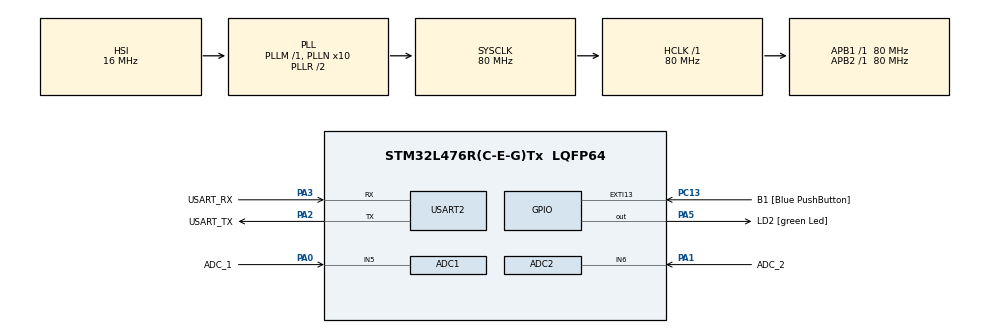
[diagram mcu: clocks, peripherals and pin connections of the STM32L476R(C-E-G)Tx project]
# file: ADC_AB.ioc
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ADC1.Channel-1\#ChannelRegularConversion=ADC_CHANNEL_5
ADC1.ClockPrescaler=ADC_CLOCK_ASYNC_DIV64
ADC1.ContinuousConvMode=ENABLE
ADC1.NbrOfConversionFlag=1
ADC1.OffsetNumber-1\#ChannelRegularConversion=ADC_OFFSET_NONE
ADC1.Rank-1\#ChannelRegularConversion=1
ADC1.SamplingTime-1\#ChannelRegularConversion=ADC_SAMPLETIME_2CYCLES_5
ADC1.master=1
ADC2.Channel-1\#ChannelRegularConversion=ADC_CHANNEL_6
ADC2.ClockPrescaler=ADC_CLOCK_ASYNC_DIV64
ADC2.ContinuousConvMode=ENABLE
ADC2.NbrOfConversionFlag=1
ADC2.OffsetNumber-1\#ChannelRegularConversion=ADC_OFFSET_NONE
ADC2.Rank-1\#ChannelRegularConversion=1
ADC2.Resolution=ADC_RESOLUTION_8B
ADC2.SamplingTime-1\#ChannelRegularConversion=ADC_SAMPLETIME_2CYCLES_5
Mcu.Family=STM32L4
Mcu.Name=STM32L476R(C-E-G)Tx
Mcu.Package=LQFP64
NVIC.ADC1_2_IRQn=true\:0\:0\:false\:false\:true\:true\:true\:true
NVIC.EXTI15_10_IRQn=true\:0\:0\:false\:false\:true\:true\:true\:true
NVIC.PriorityGroup=NVIC_PRIORITYGROUP_4
NVIC.TIM6_DAC_IRQn=true\:0\:0\:false\:false\:true\:true\:true\:true
PA0.GPIO_Label=ADC_1
PA0.Signal=ADCx_IN5
PA1.GPIO_Label=ADC_2
PA1.Signal=ADCx_IN6
PA13\ (JTMS-SWDIO).GPIO_Label=TMS
PA13\ (JTMS-SWDIO).Mode=Serial_Wire
PA13\ (JTMS-SWDIO).Signal=SYS_JTMS-SWDIO
PA14\ (JTCK-SWCLK).GPIO_Label=TCK
PA14\ (JTCK-SWCLK).Mode=Serial_Wire
PA14\ (JTCK-SWCLK).Signal=SYS_JTCK-SWCLK
PA2.GPIO_Label=USART_TX
PA2.GPIO_Mode=GPIO_MODE_AF_PP
PA2.GPIO_PuPd=GPIO_NOPULL
PA2.GPIO_Speed=GPIO_SPEED_FREQ_VERY_HIGH
PA2.Mode=Asynchronous
PA2.Signal=USART2_TX
PA3.GPIO_Label=USART_RX
PA3.GPIO_Mode=GPIO_MODE_AF_PP
PA3.GPIO_PuPd=GPIO_NOPULL
PA3.GPIO_Speed=GPIO_SPEED_FREQ_VERY_HIGH
PA3.Mode=Asynchronous
PA3.Signal=USART2_RX
PA5.GPIO_Label=LD2 [green Led]
PA5.GPIO_ModeDefaultOutputPP=GPIO_MODE_OUTPUT_PP
PA5.GPIO_PuPd=GPIO_NOPULL
PA5.GPIO_Speed=GPIO_SPEED_FREQ_LOW
PA5.Signal=GPIO_Output
PB3\ (JTDO-TRACESWO).GPIO_Label=SWO
PB3\ (JTDO-TRACESWO).Signal=SYS_JTDO-SWO
PC13.GPIO_Label=B1 [Blue PushButton]
PC13.GPIO_ModeDefaultEXTI=GPIO_MODE_IT_FALLING
PC13.GPIO_PuPd=GPIO_NOPULL
PC13.Signal=GPXTI13
PC14-OSC32_IN\ (PC14).Mode=LSE-External-Oscillator
PC14-OSC32_IN\ (PC14).Signal=RCC_OSC32_IN
PC15-OSC32_OUT\ (PC15).Mode=LSE-External-Oscillator
PC15-OSC32_OUT\ (PC15).Signal=RCC_OSC32_OUT
PH0-OSC_IN\ (PH0).Signal=RCC_OSC_IN
PH1-OSC_OUT\ (PH1).Signal=RCC_OSC_OUT
ProjectManager.HeapSize=0x200
ProjectManager.StackSize=0x400
ProjectManager.TargetToolchain=STM32CubeIDE
RCC.ADCFreq_Value=64000000
RCC.AHBFreq_Value=80000000
RCC.APB1Freq_Value=80000000
RCC.APB1TimFreq_Value=80000000
RCC.APB2Freq_Value=80000000
RCC.APB2TimFreq_Value=80000000
RCC.CortexFreq_Value=80000000
RCC.HCLKFreq_Value=80000000
RCC.HSE_VALUE=8000000
RCC.HSI_VALUE=16000000
RCC.MSI_VALUE=4000000
RCC.PLLN=10
RCC.PLLSourceVirtual=RCC_PLLSOURCE_HSI
RCC.PREFETCH_ENABLE=1
RCC.SYSCLKFreq_VALUE=80000000
RCC.SYSCLKSource=RCC_SYSCLKSOURCE_PLLCLK
RCC.USBFreq_Value=64000000
RCC.VCOOutputFreq_Value=160000000
SH.ADCx_IN5.0=ADC1_IN5,IN5-Single-Ended
SH.ADCx_IN6.0=ADC2_IN6,IN6-Single-Ended
TIM6.Period=9999
TIM6.Prescaler=7999
USART2.VirtualMode-Asynchronous=VM_ASYNC
VP_TIM6_VS_ClockSourceINT.Mode=Enable_Timer
board=NUCLEO-L476RG

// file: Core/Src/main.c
/* USER CODE BEGIN Header */
/**
  ******************************************************************************
  * @file           : main.c
  * @brief          : Main program body
  ******************************************************************************
  * @attention
  *
  * Copyright (c) 2022 STMicroelectronics.
  * All rights reserved.
  *
  * This software is licensed under terms that can be found in the LICENSE file
  * in the root directory of this software component.
  * If no LICENSE file comes with this software, it is provided AS-IS.
  *
  ******************************************************************************
  */
/* USER CODE END Header */
#include "main.h"

/* USER CODE BEGIN Includes */
#include <stdio.h>
/* USER CODE END Includes */

 ADC_HandleTypeDef hadc1;
ADC_HandleTypeDef hadc2;

TIM_HandleTypeDef htim6;

UART_HandleTypeDef huart2;

void SystemClock_Config(void);
void PeriphCommonClock_Config(void);
static void MX_GPIO_Init(void);
static void MX_USART2_UART_Init(void);
static void MX_ADC1_Init(void);
static void MX_ADC2_Init(void);
static void MX_TIM6_Init(void);

/* USER CODE BEGIN 0 */
static uint32_t valueLightSensor 	= 0;
static uint32_t valuePotentiometer 	= 0;

void HAL_TIM_PeriodElapsedCallback(TIM_HandleTypeDef *htim)
{
	printf("%d \n\r",valueLightSensor);
	printf("%d \n\r",valuePotentiometer);

}
// Define callback function
void HAL_ADC_ConvCpltCallback(ADC_HandleTypeDef* hadc)
{
	// Read the converted value in the callback function
	valuePotentiometer = HAL_ADC_GetValue(&hadc2);
	//printf("%d \n\r",value);

}

int __io_putchar(int ch)
{
  /* Place your implementation of fputc here */
  /* e.g. write a character to the USART1 and Loop until the end of transmission */
  HAL_UART_Transmit(&huart2, (uint8_t *)&ch, 1, 0xFFFF);

  return ch;
}

/* USER CODE END 0 */

int main(void)
{

  /* MCU Configuration--------------------------------------------------------*/

  /* Reset of all peripherals, Initializes the Flash interface and the Systick. */
  HAL_Init();

  /* Configure the system clock */
  SystemClock_Config();

/* Configure the peripherals common clocks */
  PeriphCommonClock_Config();

  /* Initialize all configured peripherals */
  MX_GPIO_Init();
  MX_USART2_UART_Init();
  MX_ADC1_Init();
  MX_ADC2_Init();
  MX_TIM6_Init();
  /* USER CODE BEGIN 2 */
  HAL_NVIC_EnableIRQ(ADC1_2_IRQn);
  HAL_NVIC_EnableIRQ(ADC1_2_IRQn);
  HAL_NVIC_EnableIRQ(TIM6_DAC_IRQn);

  HAL_ADC_Start(&hadc1);
  HAL_ADC_Start_IT(&hadc2);
  HAL_TIM_Base_Start_IT(&htim6);

  /* USER CODE END 2 */

  /* Infinite loop */
  while (1)
  {

    /* USER CODE BEGIN 3 */

	// Wait for conversion to end
	HAL_StatusTypeDef result = HAL_ADC_PollForConversion(&hadc1, 1000);
	// Read the converted value
	if(result == HAL_OK)
	{
		valueLightSensor =  HAL_ADC_GetValue(&hadc1);

		//printf("%d \n\r",(int)value);

		HAL_ADC_Stop(&hadc1);
		HAL_ADC_Start(&hadc1);
	}

  }
  /* USER CODE END 3 */
}

void SystemClock_Config(void)
{
  RCC_OscInitTypeDef RCC_OscInitStruct = {0};
  RCC_ClkInitTypeDef RCC_ClkInitStruct = {0};

  /** Configure the main internal regulator output voltage
  */
  if (HAL_PWREx_ControlVoltageScaling(PWR_REGULATOR_VOLTAGE_SCALE1) != HAL_OK)
  {
    Error_Handler();
  }

  /** Initializes the RCC Oscillators according to the specified parameters
  * in the RCC_OscInitTypeDef structure.
  */
  RCC_OscInitStruct.OscillatorType = RCC_OSCILLATORTYPE_HSI;
  RCC_OscInitStruct.HSIState = RCC_HSI_ON;
  RCC_OscInitStruct.HSICalibrationValue = RCC_HSICALIBRATION_DEFAULT;
  RCC_OscInitStruct.PLL.PLLState = RCC_PLL_ON;
  RCC_OscInitStruct.PLL.PLLSource = RCC_PLLSOURCE_HSI;
  RCC_OscInitStruct.PLL.PLLM = 1;
  RCC_OscInitStruct.PLL.PLLN = 10;
  RCC_OscInitStruct.PLL.PLLP = RCC_PLLP_DIV7;
  RCC_OscInitStruct.PLL.PLLQ = RCC_PLLQ_DIV2;
  RCC_OscInitStruct.PLL.PLLR = RCC_PLLR_DIV2;
  if (HAL_RCC_OscConfig(&RCC_OscInitStruct) != HAL_OK)
  {
    Error_Handler();
  }

  /** Initializes the CPU, AHB and APB buses clocks
  */
  RCC_ClkInitStruct.ClockType = RCC_CLOCKTYPE_HCLK|RCC_CLOCKTYPE_SYSCLK
                              |RCC_CLOCKTYPE_PCLK1|RCC_CLOCKTYPE_PCLK2;
  RCC_ClkInitStruct.SYSCLKSource = RCC_SYSCLKSOURCE_PLLCLK;
  RCC_ClkInitStruct.AHBCLKDivider = RCC_SYSCLK_DIV1;
  RCC_ClkInitStruct.APB1CLKDivider = RCC_HCLK_DIV1;
  RCC_ClkInitStruct.APB2CLKDivider = RCC_HCLK_DIV1;

  if (HAL_RCC_ClockConfig(&RCC_ClkInitStruct, FLASH_LATENCY_4) != HAL_OK)
  {
    Error_Handler();
  }
}

void PeriphCommonClock_Config(void)
{
  RCC_PeriphCLKInitTypeDef PeriphClkInit = {0};

  /** Initializes the peripherals clock
  */
  PeriphClkInit.PeriphClockSelection = RCC_PERIPHCLK_ADC;
  PeriphClkInit.AdcClockSelection = RCC_ADCCLKSOURCE_PLLSAI1;
  PeriphClkInit.PLLSAI1.PLLSAI1Source = RCC_PLLSOURCE_HSI;
  PeriphClkInit.PLLSAI1.PLLSAI1M = 1;
  PeriphClkInit.PLLSAI1.PLLSAI1N = 8;
  PeriphClkInit.PLLSAI1.PLLSAI1P = RCC_PLLP_DIV7;
  PeriphClkInit.PLLSAI1.PLLSAI1Q = RCC_PLLQ_DIV2;
  PeriphClkInit.PLLSAI1.PLLSAI1R = RCC_PLLR_DIV2;
  PeriphClkInit.PLLSAI1.PLLSAI1ClockOut = RCC_PLLSAI1_ADC1CLK;
  if (HAL_RCCEx_PeriphCLKConfig(&PeriphClkInit) != HAL_OK)
  {
    Error_Handler();
  }
}

static void MX_ADC1_Init(void)
{

  ADC_MultiModeTypeDef multimode = {0};
  ADC_ChannelConfTypeDef sConfig = {0};

  /** Common config
  */
  hadc1.Instance = ADC1;
  hadc1.Init.ClockPrescaler = ADC_CLOCK_ASYNC_DIV64;
  hadc1.Init.Resolution = ADC_RESOLUTION_12B;
  hadc1.Init.DataAlign = ADC_DATAALIGN_RIGHT;
  hadc1.Init.ScanConvMode = ADC_SCAN_DISABLE;
  hadc1.Init.EOCSelection = ADC_EOC_SINGLE_CONV;
  hadc1.Init.LowPowerAutoWait = DISABLE;
  hadc1.Init.ContinuousConvMode = ENABLE;
  hadc1.Init.NbrOfConversion = 1;
  hadc1.Init.DiscontinuousConvMode = DISABLE;
  hadc1.Init.ExternalTrigConv = ADC_SOFTWARE_START;
  hadc1.Init.ExternalTrigConvEdge = ADC_EXTERNALTRIGCONVEDGE_NONE;
  hadc1.Init.DMAContinuousRequests = DISABLE;
  hadc1.Init.Overrun = ADC_OVR_DATA_PRESERVED;
  hadc1.Init.OversamplingMode = DISABLE;
  if (HAL_ADC_Init(&hadc1) != HAL_OK)
  {
    Error_Handler();
  }

  /** Configure the ADC multi-mode
  */
  multimode.Mode = ADC_MODE_INDEPENDENT;
  if (HAL_ADCEx_MultiModeConfigChannel(&hadc1, &multimode) != HAL_OK)
  {
    Error_Handler();
  }

  /** Configure Regular Channel
  */
  sConfig.Channel = ADC_CHANNEL_5;
  sConfig.Rank = ADC_REGULAR_RANK_1;
  sConfig.SamplingTime = ADC_SAMPLETIME_2CYCLES_5;
  sConfig.SingleDiff = ADC_SINGLE_ENDED;
  sConfig.OffsetNumber = ADC_OFFSET_NONE;
  sConfig.Offset = 0;
  if (HAL_ADC_ConfigChannel(&hadc1, &sConfig) != HAL_OK)
  {
    Error_Handler();
  }

}

static void MX_ADC2_Init(void)
{

  ADC_ChannelConfTypeDef sConfig = {0};

  /** Common config
  */
  hadc2.Instance = ADC2;
  hadc2.Init.ClockPrescaler = ADC_CLOCK_ASYNC_DIV64;
  hadc2.Init.Resolution = ADC_RESOLUTION_8B;
  hadc2.Init.DataAlign = ADC_DATAALIGN_RIGHT;
  hadc2.Init.ScanConvMode = ADC_SCAN_DISABLE;
  hadc2.Init.EOCSelection = ADC_EOC_SINGLE_CONV;
  hadc2.Init.LowPowerAutoWait = DISABLE;
  hadc2.Init.ContinuousConvMode = ENABLE;
  hadc2.Init.NbrOfConversion = 1;
  hadc2.Init.DiscontinuousConvMode = DISABLE;
  hadc2.Init.ExternalTrigConv = ADC_SOFTWARE_START;
  hadc2.Init.ExternalTrigConvEdge = ADC_EXTERNALTRIGCONVEDGE_NONE;
  hadc2.Init.DMAContinuousRequests = DISABLE;
  hadc2.Init.Overrun = ADC_OVR_DATA_PRESERVED;
  hadc2.Init.OversamplingMode = DISABLE;
  if (HAL_ADC_Init(&hadc2) != HAL_OK)
  {
    Error_Handler();
  }

  /** Configure Regular Channel
  */
  sConfig.Channel = ADC_CHANNEL_6;
  sConfig.Rank = ADC_REGULAR_RANK_1;
  sConfig.SamplingTime = ADC_SAMPLETIME_2CYCLES_5;
  sConfig.SingleDiff = ADC_SINGLE_ENDED;
  sConfig.OffsetNumber = ADC_OFFSET_NONE;
  sConfig.Offset = 0;
  if (HAL_ADC_ConfigChannel(&hadc2, &sConfig) != HAL_OK)
  {
    Error_Handler();
  }

}

static void MX_TIM6_Init(void)
{

  TIM_MasterConfigTypeDef sMasterConfig = {0};

  htim6.Instance = TIM6;
  htim6.Init.Prescaler = 7999;
  htim6.Init.CounterMode = TIM_COUNTERMODE_UP;
  htim6.Init.Period = 9999;
  htim6.Init.AutoReloadPreload = TIM_AUTORELOAD_PRELOAD_DISABLE;
  if (HAL_TIM_Base_Init(&htim6) != HAL_OK)
  {
    Error_Handler();
  }
  sMasterConfig.MasterOutputTrigger = TIM_TRGO_RESET;
  sMasterConfig.MasterSlaveMode = TIM_MASTERSLAVEMODE_DISABLE;
  if (HAL_TIMEx_MasterConfigSynchronization(&htim6, &sMasterConfig) != HAL_OK)
  {
    Error_Handler();
  }

}

static void MX_USART2_UART_Init(void)
{

  huart2.Instance = USART2;
  huart2.Init.BaudRate = 115200;
  huart2.Init.WordLength = UART_WORDLENGTH_8B;
  huart2.Init.StopBits = UART_STOPBITS_1;
  huart2.Init.Parity = UART_PARITY_NONE;
  huart2.Init.Mode = UART_MODE_TX_RX;
  huart2.Init.HwFlowCtl = UART_HWCONTROL_NONE;
  huart2.Init.OverSampling = UART_OVERSAMPLING_16;
  huart2.Init.OneBitSampling = UART_ONE_BIT_SAMPLE_DISABLE;
  huart2.AdvancedInit.AdvFeatureInit = UART_ADVFEATURE_NO_INIT;
  if (HAL_UART_Init(&huart2) != HAL_OK)
  {
    Error_Handler();
  }

}

static void MX_GPIO_Init(void)
{
  GPIO_InitTypeDef GPIO_InitStruct = {0};

  /* GPIO Ports Clock Enable */
  __HAL_RCC_GPIOC_CLK_ENABLE();
  __HAL_RCC_GPIOH_CLK_ENABLE();
  __HAL_RCC_GPIOA_CLK_ENABLE();
  __HAL_RCC_GPIOB_CLK_ENABLE();

  /*Configure GPIO pin Output Level */
  HAL_GPIO_WritePin(LD2_GPIO_Port, LD2_Pin, GPIO_PIN_RESET);

  /*Configure GPIO pin : B1_Pin */
  GPIO_InitStruct.Pin = B1_Pin;
  GPIO_InitStruct.Mode = GPIO_MODE_IT_FALLING;
  GPIO_InitStruct.Pull = GPIO_NOPULL;
  HAL_GPIO_Init(B1_GPIO_Port, &GPIO_InitStruct);

  /*Configure GPIO pin : LD2_Pin */
  GPIO_InitStruct.Pin = LD2_Pin;
  GPIO_InitStruct.Mode = GPIO_MODE_OUTPUT_PP;
  GPIO_InitStruct.Pull = GPIO_NOPULL;
  GPIO_InitStruct.Speed = GPIO_SPEED_FREQ_LOW;
  HAL_GPIO_Init(LD2_GPIO_Port, &GPIO_InitStruct);

  /* EXTI interrupt init*/
  HAL_NVIC_SetPriority(EXTI15_10_IRQn, 0, 0);
  HAL_NVIC_EnableIRQ(EXTI15_10_IRQn);

}

void Error_Handler(void)
{
  __disable_irq();
  while (1)
  {
  }
}
